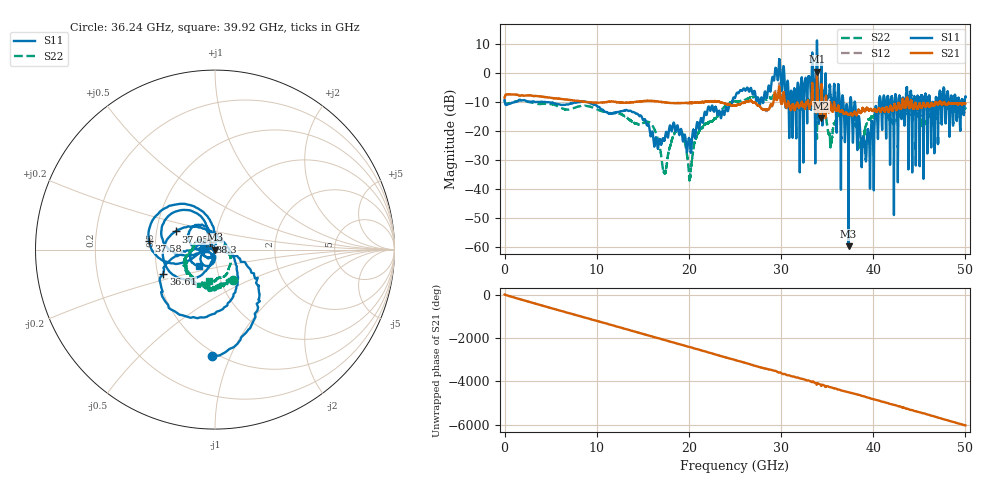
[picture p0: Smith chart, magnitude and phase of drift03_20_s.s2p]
!Created with skrf (http://scikit-rf.org).
# Hz S RI R 50.0
!freq ReS11 ImS11 ReS21 ImS21 ReS12 ImS12 ReS22 ImS22
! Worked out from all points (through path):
!   10001 points, 300 kHz to 50 GHz, reference 50 ohm
!   highest |S21| = 0.46 dB at 33.9 GHz (marker M1); lowest = -15.6 dB at 34.32 GHz (marker M2)
!   group delay of S21, straight-line fit = 335 ps
!   lowest |S11| = -59.7 dB at 37.32 GHz (marker M3), VSWR 1.00, Z = 50 - j0.0918 ohm
!   |S11| at or under -10 dB: 4.472 GHz to 7.97 GHz (3.497 GHz wide, 56.2 % of centre); 9.007 GHz to 24.7 GHz (15.69 GHz wide, 93.1 % of centre); 38.02 GHz to 40.63 GHz (2.607 GHz wide, 6.63 % of centre) (the widest 3 of 62)
!   |S22| runs from -37.1 to -5.9 dB; largest |S21 - S12| = 0.11
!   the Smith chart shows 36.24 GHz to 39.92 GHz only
!   S11 on the Smith chart (normalised r, x): 36.24 GHz: 0.47, -0.86; 36.61 GHz: 0.54, -0.16; 37.05 GHz: 0.63, +0.14; 37.58 GHz: 0.46, +0.05; 38.3 GHz: 0.94, +0.08; 39.92 GHz: 0.82, -0.15
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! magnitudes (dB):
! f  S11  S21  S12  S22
! 300 kHz  -9.3  -8.5  -8.5  -9.3
! 8.335 GHz  -9.9  -9.8  -9.8  -11.3
! 16.67 GHz  -25.5  -9.8  -9.8  -23.5
! 17.37 GHz  -23.1  -10.1  -10.1  -34.5
! 19.05 GHz  -20.2  -10.3  -10.3  -19.9
! 20.12 GHz  -24.3  -10.3  -10.3  -36.5
! 21.19 GHz  -17.9  -10.1  -10.1  -19.5
! 25 GHz  -8.6  -11.1  -11.1  -9.8
! 31.08 GHz  -6.1  -12.7  -12.7  -10.5
! 33.34 GHz  0.4  -7.5  -7.6  -9.5
! 33.9 GHz  11.3  0.5  0.0  -22.7
! 34.32 GHz  -2.8  -15.6  -15.0  -11.3
! 35.34 GHz  -6.1  -10.5  -10.0  -24.5
! 36.24 GHz  -4.5  -11.8  -11.7  -14.2
! 36.61 GHz  -10.0  -13.1  -13.0  -13.4
! 37.05 GHz  -12.3  -13.8  -14.0  -13.8
! 37.32 GHz  -59.7  -14.3  -14.5  -13.6
! 37.58 GHz  -8.6  -13.9  -13.8  -14.0
! 38.3 GHz  -25.6  -13.7  -13.6  -19.3
! 39.92 GHz  -17.8  -13.0  -13.1  -15.0
! 41.67 GHz  -9.6  -13.4  -13.3  -15.0
! 50 GHz  -8.1  -10.5  -10.5  -12.1
